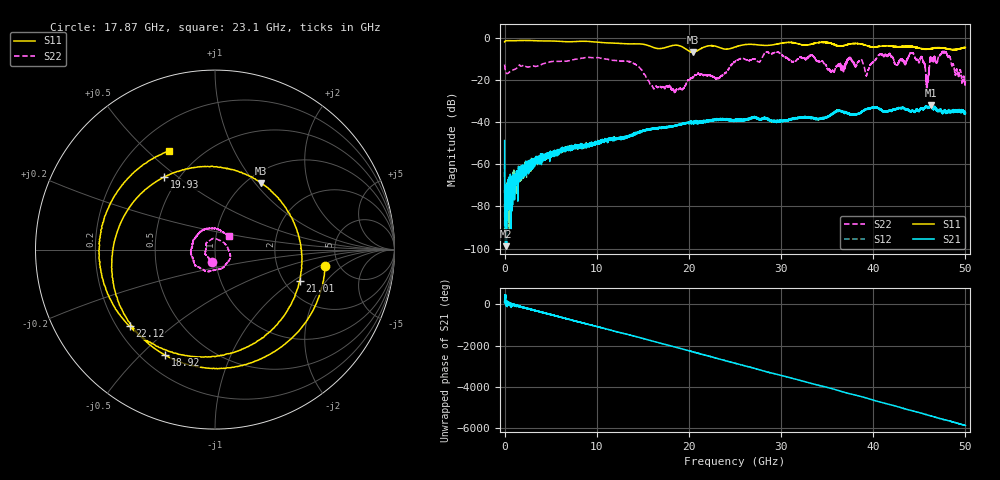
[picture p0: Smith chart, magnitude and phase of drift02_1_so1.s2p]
!Created with skrf (http://scikit-rf.org).
# Hz S RI R 50.0
!freq ReS11 ImS11 ReS21 ImS21 ReS12 ImS12 ReS22 ImS22
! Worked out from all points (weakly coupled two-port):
!   10001 points, 300 kHz to 50 GHz, reference 50 ohm
!   highest |S21| = -31.85 dB at 46.22 GHz (marker M1); lowest = -98.8 dB at 100.3 MHz (marker M2)
!   lowest |S11| = -6.9 dB at 20.43 GHz (marker M3), VSWR 2.64, Z = 58 + j53.8 ohm
!   |S11| at or under -10 dB: nowhere
!   |S22| runs from -26.2 to -6.4 dB; largest |S21 - S12| = 0.0028
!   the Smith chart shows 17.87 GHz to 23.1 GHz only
!   S11 on the Smith chart (normalised r, x): 17.87 GHz: 3.90, -1.16; 18.92 GHz: 0.29, -0.59; 19.93 GHz: 0.42, +0.45; 21.01 GHz: 2.40, -1.14; 22.12 GHz: 0.25, -0.36; 23.1 GHz: 0.34, +0.59
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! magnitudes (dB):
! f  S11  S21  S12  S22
! 300 kHz  -2.1  -48.8  -59.7  -12.7
! 100.3 MHz  -1.5  -98.8  -78.4  -16.3
! 255.3 MHz  -1.4  -75.0  -77.0  -17.0
! 2.885 GHz  -1.4  -60.0  -60.8  -13.6
! 8.335 GHz  -1.7  -51.5  -50.9  -9.8
! 13.7 GHz  -3.0  -46.2  -46.3  -11.6
! 16.67 GHz  -5.2  -43.0  -43.1  -23.4
! 17.87 GHz  -4.1  -42.4  -42.0  -23.0
! 18.92 GHz  -3.7  -41.3  -41.3  -24.3
! 19.93 GHz  -6.1  -40.5  -40.2  -20.2
! 20.43 GHz  -6.9  -40.3  -40.0  -18.9
! 21.01 GHz  -6.0  -40.0  -39.7  -16.9
! 22.12 GHz  -3.9  -39.0  -39.7  -17.8
! 23.1 GHz  -4.3  -38.5  -39.0  -19.2
! 25 GHz  -4.5  -38.8  -39.1  -11.4
! 33.34 GHz  -3.1  -37.9  -38.0  -8.3
! 39.31 GHz  -3.8  -33.9  -33.8  -17.6
! 41.67 GHz  -4.0  -34.6  -34.7  -7.9
! 45.85 GHz  -5.4  -32.9  -32.9  -21.1
! 46.22 GHz  -5.3  -31.9  -31.9  -9.6
! 47.76 GHz  -5.0  -34.6  -34.6  -6.7
! 50 GHz  -4.7  -35.6  -35.5  -20.7
